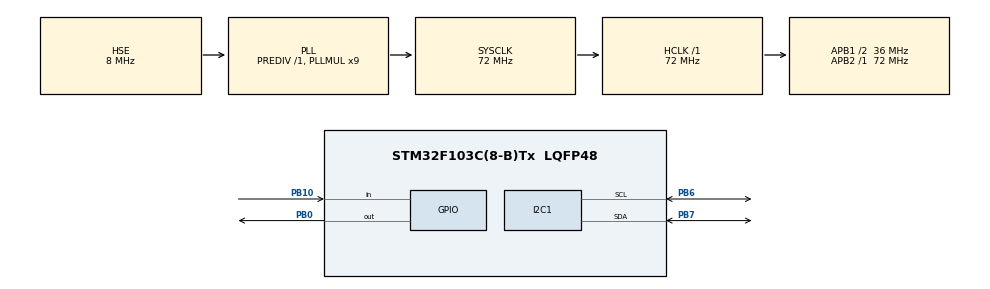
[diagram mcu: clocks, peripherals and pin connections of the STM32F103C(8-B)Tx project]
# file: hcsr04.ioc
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Mcu.Family=STM32F1
Mcu.Name=STM32F103C(8-B)Tx
Mcu.Package=LQFP48
NVIC.I2C1_ER_IRQn=true\:0\:0\:false\:false\:true\:true\:true\:true
NVIC.I2C1_EV_IRQn=true\:0\:0\:false\:false\:true\:true\:true\:true
NVIC.PriorityGroup=NVIC_PRIORITYGROUP_4
PA0-WKUP.Mode=SYS_WakeUp0
PA0-WKUP.Signal=SYS_WKUP
PA13.Mode=Serial_Wire
PA13.Signal=SYS_JTMS-SWDIO
PA14.Mode=Serial_Wire
PA14.Signal=SYS_JTCK-SWCLK
PB0.Signal=GPIO_Output
PB10.Signal=GPIO_Input
PB6.Mode=I2C
PB6.Signal=I2C1_SCL
PB7.Mode=I2C
PB7.Signal=I2C1_SDA
PD0-OSC_IN.Mode=HSE-External-Oscillator
PD0-OSC_IN.Signal=RCC_OSC_IN
PD1-OSC_OUT.Mode=HSE-External-Oscillator
PD1-OSC_OUT.Signal=RCC_OSC_OUT
ProjectManager.HeapSize=0x200
ProjectManager.StackSize=0x400
ProjectManager.TargetToolchain=MDK-ARM V5
RCC.AHBFreq_Value=72000000
RCC.APB1CLKDivider=RCC_HCLK_DIV2
RCC.APB1Freq_Value=36000000
RCC.APB1TimFreq_Value=72000000
RCC.APB2Freq_Value=72000000
RCC.APB2TimFreq_Value=72000000
RCC.HCLKFreq_Value=72000000
RCC.PLLMUL=RCC_PLL_MUL9
RCC.PLLSourceVirtual=RCC_PLLSOURCE_HSE
RCC.SYSCLKFreq_VALUE=72000000
RCC.SYSCLKSource=RCC_SYSCLKSOURCE_PLLCLK
RCC.USBFreq_Value=72000000
TIM1.Prescaler=71
VP_TIM1_VS_ClockSourceINT.Mode=Internal
board=custom

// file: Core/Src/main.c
/* USER CODE BEGIN Header */
/**
  ******************************************************************************
  * @file           : main.c
  * @brief          : Main program body
  ******************************************************************************
  * @attention
  *
  * Copyright (c) 2022 STMicroelectronics.
  * All rights reserved.
  *
  * This software is licensed under terms that can be found in the LICENSE file
  * in the root directory of this software component.
  * If no LICENSE file comes with this software, it is provided AS-IS.
  *
  ******************************************************************************
  */
/* USER CODE END Header */
#include "main.h"

/* USER CODE BEGIN Includes */
#include "i2c-lcd.h"
#include "stdio.h"
/* USER CODE END Includes */

/* USER CODE BEGIN PD */
#define TRIG_PIN GPIO_PIN_0
#define TRIG_PORT GPIOB
#define ECHO_PIN GPIO_PIN_10
#define ECHO_PORT GPIOB
/* USER CODE END PD */

 I2C_HandleTypeDef hi2c1;

TIM_HandleTypeDef htim1;

/* USER CODE BEGIN PV */
	uint32_t pMillis;
	uint32_t val1 = 0;
	uint32_t val2 = 0;
	uint16_t distance  = 0;
/* USER CODE END PV */

void SystemClock_Config(void);
static void MX_GPIO_Init(void);
static void MX_TIM1_Init(void);
static void MX_I2C1_Init(void);
/* USER CODE BEGIN PFP */
int find_distane(int distance);
/* USER CODE END PFP */

int main(void)
{

  /* MCU Configuration--------------------------------------------------------*/

  /* Reset of all peripherals, Initializes the Flash interface and the Systick. */
  HAL_Init();

  /* USER CODE BEGIN Init */
	lcd_init();
  /* USER CODE END Init */

  /* Configure the system clock */
  SystemClock_Config();

  /* Initialize all configured peripherals */
  MX_GPIO_Init();
  MX_TIM1_Init();
  MX_I2C1_Init();
  /* USER CODE BEGIN 2 */
	HAL_TIM_Base_Start(&htim1);
  HAL_GPIO_WritePin(TRIG_PORT, TRIG_PIN, GPIO_PIN_RESET);
	lcd_clear();
  /* USER CODE END 2 */

  /* Infinite loop */
  while (1)
  {

    /* USER CODE BEGIN 3 */
		find_distane(distance);
		if (find_distane(distance) <5)
		{
			lcd_send_string("adu");
		}
		}
  /* USER CODE END 3 */
}

void SystemClock_Config(void)
{
  RCC_OscInitTypeDef RCC_OscInitStruct = {0};
  RCC_ClkInitTypeDef RCC_ClkInitStruct = {0};

  /** Initializes the RCC Oscillators according to the specified parameters
  * in the RCC_OscInitTypeDef structure.
  */
  RCC_OscInitStruct.OscillatorType = RCC_OSCILLATORTYPE_HSE;
  RCC_OscInitStruct.HSEState = RCC_HSE_ON;
  RCC_OscInitStruct.HSEPredivValue = RCC_HSE_PREDIV_DIV1;
  RCC_OscInitStruct.HSIState = RCC_HSI_ON;
  RCC_OscInitStruct.PLL.PLLState = RCC_PLL_ON;
  RCC_OscInitStruct.PLL.PLLSource = RCC_PLLSOURCE_HSE;
  RCC_OscInitStruct.PLL.PLLMUL = RCC_PLL_MUL9;
  if (HAL_RCC_OscConfig(&RCC_OscInitStruct) != HAL_OK)
  {
    Error_Handler();
  }

  /** Initializes the CPU, AHB and APB buses clocks
  */
  RCC_ClkInitStruct.ClockType = RCC_CLOCKTYPE_HCLK|RCC_CLOCKTYPE_SYSCLK
                              |RCC_CLOCKTYPE_PCLK1|RCC_CLOCKTYPE_PCLK2;
  RCC_ClkInitStruct.SYSCLKSource = RCC_SYSCLKSOURCE_PLLCLK;
  RCC_ClkInitStruct.AHBCLKDivider = RCC_SYSCLK_DIV1;
  RCC_ClkInitStruct.APB1CLKDivider = RCC_HCLK_DIV2;
  RCC_ClkInitStruct.APB2CLKDivider = RCC_HCLK_DIV1;

  if (HAL_RCC_ClockConfig(&RCC_ClkInitStruct, FLASH_LATENCY_2) != HAL_OK)
  {
    Error_Handler();
  }
}

static void MX_I2C1_Init(void)
{

  hi2c1.Instance = I2C1;
  hi2c1.Init.ClockSpeed = 100000;
  hi2c1.Init.DutyCycle = I2C_DUTYCYCLE_2;
  hi2c1.Init.OwnAddress1 = 0;
  hi2c1.Init.AddressingMode = I2C_ADDRESSINGMODE_7BIT;
  hi2c1.Init.DualAddressMode = I2C_DUALADDRESS_DISABLE;
  hi2c1.Init.OwnAddress2 = 0;
  hi2c1.Init.GeneralCallMode = I2C_GENERALCALL_DISABLE;
  hi2c1.Init.NoStretchMode = I2C_NOSTRETCH_DISABLE;
  if (HAL_I2C_Init(&hi2c1) != HAL_OK)
  {
    Error_Handler();
  }

}

static void MX_TIM1_Init(void)
{

  TIM_ClockConfigTypeDef sClockSourceConfig = {0};
  TIM_MasterConfigTypeDef sMasterConfig = {0};

  htim1.Instance = TIM1;
  htim1.Init.Prescaler = 71;
  htim1.Init.CounterMode = TIM_COUNTERMODE_UP;
  htim1.Init.Period = 65535;
  htim1.Init.ClockDivision = TIM_CLOCKDIVISION_DIV1;
  htim1.Init.RepetitionCounter = 0;
  htim1.Init.AutoReloadPreload = TIM_AUTORELOAD_PRELOAD_DISABLE;
  if (HAL_TIM_Base_Init(&htim1) != HAL_OK)
  {
    Error_Handler();
  }
  sClockSourceConfig.ClockSource = TIM_CLOCKSOURCE_INTERNAL;
  if (HAL_TIM_ConfigClockSource(&htim1, &sClockSourceConfig) != HAL_OK)
  {
    Error_Handler();
  }
  sMasterConfig.MasterOutputTrigger = TIM_TRGO_RESET;
  sMasterConfig.MasterSlaveMode = TIM_MASTERSLAVEMODE_DISABLE;
  if (HAL_TIMEx_MasterConfigSynchronization(&htim1, &sMasterConfig) != HAL_OK)
  {
    Error_Handler();
  }

}

static void MX_GPIO_Init(void)
{
  GPIO_InitTypeDef GPIO_InitStruct = {0};

  /* GPIO Ports Clock Enable */
  __HAL_RCC_GPIOD_CLK_ENABLE();
  __HAL_RCC_GPIOA_CLK_ENABLE();
  __HAL_RCC_GPIOB_CLK_ENABLE();

  /*Configure GPIO pin Output Level */
  HAL_GPIO_WritePin(GPIOB, GPIO_PIN_0, GPIO_PIN_RESET);

  /*Configure GPIO pin : PB0 */
  GPIO_InitStruct.Pin = GPIO_PIN_0;
  GPIO_InitStruct.Mode = GPIO_MODE_OUTPUT_PP;
  GPIO_InitStruct.Pull = GPIO_NOPULL;
  GPIO_InitStruct.Speed = GPIO_SPEED_FREQ_LOW;
  HAL_GPIO_Init(GPIOB, &GPIO_InitStruct);

  /*Configure GPIO pin : PB10 */
  GPIO_InitStruct.Pin = GPIO_PIN_10;
  GPIO_InitStruct.Mode = GPIO_MODE_INPUT;
  GPIO_InitStruct.Pull = GPIO_NOPULL;
  HAL_GPIO_Init(GPIOB, &GPIO_InitStruct);

}

/* USER CODE BEGIN 4 */
int find_distane(int distance)
{
				HAL_GPIO_WritePin(TRIG_PORT, TRIG_PIN, GPIO_PIN_SET);
			__HAL_TIM_SET_COUNTER(&htim1, 0);
			 while (__HAL_TIM_GET_COUNTER (&htim1) < 10);  // wait for 10 us
			 HAL_GPIO_WritePin(TRIG_PORT, TRIG_PIN, GPIO_PIN_RESET);

			 pMillis = HAL_GetTick();
			 while (!(HAL_GPIO_ReadPin (ECHO_PORT, ECHO_PIN)) && pMillis + 10 >  HAL_GetTick());
			 val1 = __HAL_TIM_GET_COUNTER (&htim1);

			 pMillis = HAL_GetTick();
			 while ((HAL_GPIO_ReadPin (ECHO_PORT, ECHO_PIN)) && pMillis + 50 > HAL_GetTick());
			 val2 = __HAL_TIM_GET_COUNTER (&htim1);

			 distance = (val2-val1)* 0.034/2;
				return distance;
}
/* USER CODE END 4 */

void Error_Handler(void)
{
  __disable_irq();
  while (1)
  {
  }
}
